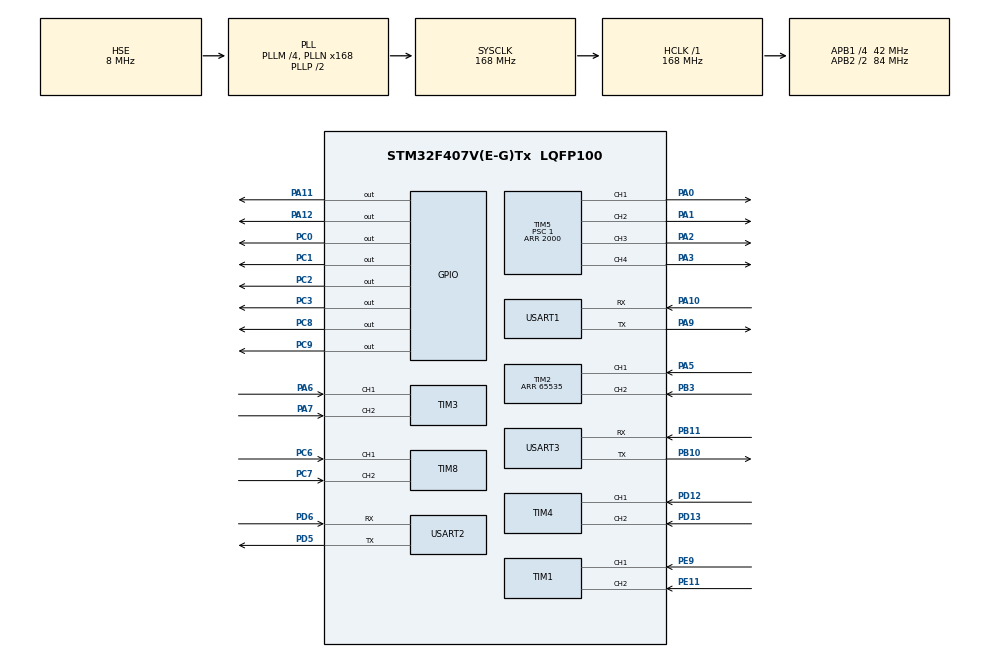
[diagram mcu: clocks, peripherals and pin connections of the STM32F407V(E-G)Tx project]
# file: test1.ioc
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Dma.Request0=USART3_RX
Dma.Request1=USART2_RX
Dma.USART2_RX.1.Direction=DMA_PERIPH_TO_MEMORY
Dma.USART2_RX.1.FIFOMode=DMA_FIFOMODE_DISABLE
Dma.USART2_RX.1.Instance=DMA1_Stream5
Dma.USART2_RX.1.MemDataAlignment=DMA_MDATAALIGN_BYTE
Dma.USART2_RX.1.MemInc=DMA_MINC_ENABLE
Dma.USART2_RX.1.Mode=DMA_NORMAL
Dma.USART2_RX.1.PeriphDataAlignment=DMA_PDATAALIGN_BYTE
Dma.USART2_RX.1.PeriphInc=DMA_PINC_DISABLE
Dma.USART2_RX.1.Priority=DMA_PRIORITY_LOW
Dma.USART3_RX.0.Direction=DMA_PERIPH_TO_MEMORY
Dma.USART3_RX.0.FIFOMode=DMA_FIFOMODE_DISABLE
Dma.USART3_RX.0.Instance=DMA1_Stream1
Dma.USART3_RX.0.MemDataAlignment=DMA_MDATAALIGN_BYTE
Dma.USART3_RX.0.MemInc=DMA_MINC_ENABLE
Dma.USART3_RX.0.Mode=DMA_NORMAL
Dma.USART3_RX.0.PeriphDataAlignment=DMA_PDATAALIGN_BYTE
Dma.USART3_RX.0.PeriphInc=DMA_PINC_DISABLE
Dma.USART3_RX.0.Priority=DMA_PRIORITY_LOW
Mcu.Family=STM32F4
Mcu.Name=STM32F407V(E-G)Tx
Mcu.Package=LQFP100
NVIC.DMA1_Stream1_IRQn=true\:0\:0\:false\:false\:true\:false\:true\:true
NVIC.DMA1_Stream5_IRQn=true\:0\:0\:false\:false\:true\:false\:true\:true
NVIC.PriorityGroup=NVIC_PRIORITYGROUP_4
NVIC.TIM7_IRQn=true\:0\:0\:false\:false\:true\:true\:true\:true
NVIC.USART2_IRQn=true\:0\:0\:false\:false\:true\:true\:true\:true
NVIC.USART3_IRQn=true\:0\:0\:false\:false\:true\:true\:true\:true
PA0-WKUP.Signal=S_TIM5_CH1
PA1.Signal=S_TIM5_CH2
PA10.Mode=Asynchronous
PA10.Signal=USART1_RX
PA11.Signal=GPIO_Output
PA12.Signal=GPIO_Output
PA2.Signal=S_TIM5_CH3
PA3.Signal=S_TIM5_CH4
PA5.Signal=S_TIM2_CH1_ETR
PA6.Signal=S_TIM3_CH1
PA7.Signal=S_TIM3_CH2
PA9.Mode=Asynchronous
PA9.Signal=USART1_TX
PB10.Mode=Asynchronous
PB10.Signal=USART3_TX
PB11.Mode=Asynchronous
PB11.Signal=USART3_RX
PB3.Signal=S_TIM2_CH2
PC0.GPIO_ModeDefaultOutputPP=GPIO_MODE_OUTPUT_PP
PC0.GPIO_PuPd=GPIO_NOPULL
PC0.Signal=GPIO_Output
PC1.GPIO_ModeDefaultOutputPP=GPIO_MODE_OUTPUT_PP
PC1.GPIO_PuPd=GPIO_NOPULL
PC1.Signal=GPIO_Output
PC2.GPIO_ModeDefaultOutputPP=GPIO_MODE_OUTPUT_PP
PC2.GPIO_PuPd=GPIO_NOPULL
PC2.Signal=GPIO_Output
PC3.GPIO_ModeDefaultOutputPP=GPIO_MODE_OUTPUT_PP
PC3.GPIO_PuPd=GPIO_NOPULL
PC3.Signal=GPIO_Output
PC6.Signal=S_TIM8_CH1
PC7.Signal=S_TIM8_CH2
PC8.GPIO_ModeDefaultOutputPP=GPIO_MODE_OUTPUT_PP
PC8.GPIO_PuPd=GPIO_NOPULL
PC8.Signal=GPIO_Output
PC9.GPIO_ModeDefaultOutputPP=GPIO_MODE_OUTPUT_PP
PC9.GPIO_PuPd=GPIO_NOPULL
PC9.Signal=GPIO_Output
PD12.Signal=S_TIM4_CH1
PD13.Signal=S_TIM4_CH2
PD5.Mode=Asynchronous
PD5.Signal=USART2_TX
PD6.Mode=Asynchronous
PD6.Signal=USART2_RX
PE11.Signal=S_TIM1_CH2
PE9.Signal=S_TIM1_CH1
PH0-OSC_IN.Mode=HSE-External-Oscillator
PH0-OSC_IN.Signal=RCC_OSC_IN
PH1-OSC_OUT.Mode=HSE-External-Oscillator
PH1-OSC_OUT.Signal=RCC_OSC_OUT
ProjectManager.HeapSize=0x200
ProjectManager.StackSize=0x400
ProjectManager.TargetToolchain=MDK-ARM V5.32
RCC.48MHZClocksFreq_Value=84000000
RCC.AHBFreq_Value=168000000
RCC.APB1CLKDivider=RCC_HCLK_DIV4
RCC.APB1Freq_Value=42000000
RCC.APB1TimFreq_Value=84000000
RCC.APB2CLKDivider=RCC_HCLK_DIV2
RCC.APB2Freq_Value=84000000
RCC.APB2TimFreq_Value=168000000
RCC.CortexFreq_Value=168000000
RCC.HCLKFreq_Value=168000000
RCC.HSE_VALUE=8000000
RCC.HSI_VALUE=16000000
RCC.LSE_VALUE=32768
RCC.PLLM=4
RCC.PLLN=168
RCC.PLLSourceVirtual=RCC_PLLSOURCE_HSE
RCC.SYSCLKFreq_VALUE=168000000
RCC.SYSCLKSource=RCC_SYSCLKSOURCE_PLLCLK
RCC.VCOOutputFreq_Value=336000000
SH.S_TIM1_CH1.0=TIM1_CH1,Encoder_Interface
SH.S_TIM1_CH2.0=TIM1_CH2,Encoder_Interface
SH.S_TIM2_CH1_ETR.0=TIM2_CH1,Encoder_Interface
SH.S_TIM2_CH2.0=TIM2_CH2,Encoder_Interface
SH.S_TIM3_CH1.0=TIM3_CH1,Encoder_Interface
SH.S_TIM3_CH2.0=TIM3_CH2,Encoder_Interface
SH.S_TIM4_CH1.0=TIM4_CH1,Encoder_Interface
SH.S_TIM4_CH2.0=TIM4_CH2,Encoder_Interface
SH.S_TIM5_CH1.0=TIM5_CH1,PWM Generation1 CH1
SH.S_TIM5_CH2.0=TIM5_CH2,PWM Generation2 CH2
SH.S_TIM5_CH3.0=TIM5_CH3,PWM Generation3 CH3
SH.S_TIM5_CH4.0=TIM5_CH4,PWM Generation4 CH4
SH.S_TIM8_CH1.0=TIM8_CH1,Encoder_Interface
SH.S_TIM8_CH2.0=TIM8_CH2,Encoder_Interface
TIM1.EncoderMode=TIM_ENCODERMODE_TI12
TIM2.EncoderMode=TIM_ENCODERMODE_TI12
TIM2.Period=65535
TIM3.EncoderMode=TIM_ENCODERMODE_TI12
TIM4.EncoderMode=TIM_ENCODERMODE_TI12
TIM5.AutoReloadPreload=TIM_AUTORELOAD_PRELOAD_ENABLE
TIM5.Channel-PWM\ Generation1\ CH1=TIM_CHANNEL_1
TIM5.Channel-PWM\ Generation2\ CH2=TIM_CHANNEL_2
TIM5.Channel-PWM\ Generation3\ CH3=TIM_CHANNEL_3
TIM5.Channel-PWM\ Generation4\ CH4=TIM_CHANNEL_4
TIM5.Period=2000
TIM5.Prescaler=1
TIM7.AutoReloadPreload=TIM_AUTORELOAD_PRELOAD_ENABLE
TIM7.Period=200
TIM7.Prescaler=8400
TIM8.EncoderMode=TIM_ENCODERMODE_TI12
USART1.VirtualMode=VM_ASYNC
USART2.VirtualMode=VM_ASYNC
USART3.VirtualMode=VM_ASYNC
VP_TIM7_VS_ClockSourceINT.Mode=Enable_Timer
board=custom

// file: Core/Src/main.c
/* USER CODE BEGIN Header */
/**
 ******************************************************************************
 * @file           : main.c
 * @brief          : Main program body
 ******************************************************************************
 * @attention
 *
 * Copyright (c) 2022 STMicroelectronics.
 * All rights reserved.
 *
 * This software is licensed under terms that can be found in the LICENSE file
 * in the root directory of this software component.
 * If no LICENSE file comes with this software, it is provided AS-IS.
 *
 ******************************************************************************
 */
/* USER CODE END Header */
#include "main.h"
#include "dma.h"
#include "tim.h"
#include "usart.h"
#include "gpio.h"

/* USER CODE BEGIN Includes */
#include <string.h>
#include <stdio.h>
#include "pid.h"
#include "jy62.h"
#include "zigbee_edc24.h"
#include "map.h"
#include "drive.h"
#include "Dijkstra.h"
#include <math.h>
/* USER CODE END Includes */

/* USER CODE BEGIN PD */
#define MAX_SPEED 60
/* USER CODE END PD */

/* USER CODE BEGIN PV */
int32_t lastCnt[4], curCnt[4], speed[4];
pid speedPid[6];
float coff = 0.4f;

pid xPosPid, yPosPid;

pid zAnglePid;

extern uint8_t jy62_buff[JY62_BUFFSIZE];
extern struct vec acc, angle, vel;
extern uint32_t height;
extern float g;

//uint8_t hash[65536];

enum stateValue
{
	running,
	calibrating,
	stop
};
uint8_t state = stop;

extern uint8_t receive_flag;

uint32_t lastReqTime = 0;

extern int32_t charging_pile_num;

extern uint8_t settingc;

// extern float drive_velocity_x_goal;
// extern float drive_velocity_y_goal;
/* USER CODE END PV */

void SystemClock_Config(void);
/* USER CODE BEGIN PFP */

void setSpeed(uint8_t idx, double speed);

/* USER CODE END PFP */

int main(void)
{

  /* MCU Configuration--------------------------------------------------------*/

  /* Reset of all peripherals, Initializes the Flash interface and the Systick. */
  HAL_Init();

  /* Configure the system clock */
  SystemClock_Config();

  /* Initialize all configured peripherals */
  MX_GPIO_Init();
  MX_DMA_Init();
  MX_TIM2_Init();
  MX_TIM3_Init();
  MX_TIM4_Init();
  MX_TIM5_Init();
  MX_USART1_UART_Init();
  MX_USART2_UART_Init();
  MX_USART3_UART_Init();
  MX_TIM7_Init();
  MX_TIM8_Init();
  MX_TIM1_Init();
  /* USER CODE BEGIN 2 */

	HAL_TIM_PWM_Start(&htim5, TIM_CHANNEL_1);
	HAL_TIM_PWM_Start(&htim5, TIM_CHANNEL_2);
	HAL_TIM_PWM_Start(&htim5, TIM_CHANNEL_3);
	HAL_TIM_PWM_Start(&htim5, TIM_CHANNEL_4);
	HAL_TIM_Encoder_Start(&htim2, TIM_CHANNEL_ALL);
	HAL_TIM_Encoder_Start(&htim3, TIM_CHANNEL_ALL);
	HAL_TIM_Encoder_Start(&htim4, TIM_CHANNEL_ALL);
	HAL_TIM_Encoder_Start(&htim8, TIM_CHANNEL_ALL);

	HAL_TIM_Base_Start_IT(&htim7);

	HAL_UARTEx_ReceiveToIdle_DMA(&huart3, jy62_buff, JY62_BUFFSIZE);

	state = calibrating;
	jy62_init(&huart3);
	// calibrate();
	HAL_Delay(500);
	initAngle();
	HAL_Delay(500);
	state = running;

	pid_init(&speedPid[0], 3.0f, 0.12f, 0.0f);
	pid_init(&speedPid[1], 3.0f, 0.12f, 0.0f);
	pid_init(&speedPid[2], 3.0f, 0.12f, 0.0f);
	pid_init(&speedPid[3], 3.0f, 0.12f, 0.0f);

	pid_init(&xPosPid, 2.5f, 0.021f, 5.0f);
	pid_init(&yPosPid, 2.0f, 0.015f, 4.5f);
	// speedPid[0].goal=10;
	// speedPid[1].goal=10;
	// speedPid[2].goal=10;
	// speedPid[3].goal=10;

	pid_init(&zAnglePid, 1.1f, 0.04f, 0.01f);
	zAnglePid.goal = 0;
	u1_printf("hello");

	zigbee_Init(&huart2);

  /* USER CODE END 2 */

  /* Infinite loop */
  /* USER CODE BEGIN WHILE */
	uint32_t idx = 0;
	uint8_t built = 0;
	uint8_t charge_pile_set = 0;
	Drive_Init();
	//for(uint32_t i=0;i<65536;++i) hash[i]=1;
	while (1)
	{
    /* USER CODE END WHILE */

    /* USER CODE BEGIN 3 */

		if(idx%200<100){
			//setSpeed(3,60);
			//setSpeed(1,60);
			//setSpeed(2,60);
			//setSpeed(4,60);
		}else{
			//setSpeed(3,-60);
			//setSpeed(1,-60);
			//setSpeed(2,-60);
			//setSpeed(4,-60);
		}
		idx++;
		uint32_t currentTime=HAL_GetTick();
		if(receive_flag && currentTime-lastReqTime > 90){
			reqGameInfo();
			lastReqTime = currentTime;
		}
		if (receive_flag)
		{
			zigbeeMessageRecord();

			saveOrder();
			charging_pile_num = getOwnChargingPileNum();
			if (!built)
			{
				Barrier_edc24 b = getOneBarrier(0);
				Position_edc24 tmppos = getVehiclePos();
				if (b.pos_1.x != 0 && b.pos_1.y != 0 && b.pos_2.x != 0 && b.pos_2.y != 0 && tmppos.x != 0)
				{
					built = 1;
					BuildMap();
					//
					u1_printf("built:%d, %d", tmppos.x, tmppos.y);
					HAL_Delay(1000);
					settingc=1;
					// uint16_t curNode=Get_Nearby_Node(tmppos.x, tmppos.y);
				}
			}
		}
		else
		{
		}
		if (built)
		{
			 if(charging_pile_num<3)
				Drive_Set_Charge_Pile();
			 else{
					settingc = 0;
				 Drive_Simple();
			 }

			// Go_to(100,100);
		}
		 //u1_printf("%d, %d, %d, %d, %f\n", speed[0], speed[1], speed[2], speed[3], angle.z);
		// Position_edc24 tmppos=getVehiclePos();
		// u1_printf("x:%d, y:%d\n", tmppos.x, tmppos.y);
	}
  /* USER CODE END 3 */
}

void SystemClock_Config(void)
{
  RCC_OscInitTypeDef RCC_OscInitStruct = {0};
  RCC_ClkInitTypeDef RCC_ClkInitStruct = {0};

  /** Configure the main internal regulator output voltage
  */
  __HAL_RCC_PWR_CLK_ENABLE();
  __HAL_PWR_VOLTAGESCALING_CONFIG(PWR_REGULATOR_VOLTAGE_SCALE1);

  /** Initializes the RCC Oscillators according to the specified parameters
  * in the RCC_OscInitTypeDef structure.
  */
  RCC_OscInitStruct.OscillatorType = RCC_OSCILLATORTYPE_HSE;
  RCC_OscInitStruct.HSEState = RCC_HSE_ON;
  RCC_OscInitStruct.PLL.PLLState = RCC_PLL_ON;
  RCC_OscInitStruct.PLL.PLLSource = RCC_PLLSOURCE_HSE;
  RCC_OscInitStruct.PLL.PLLM = 4;
  RCC_OscInitStruct.PLL.PLLN = 168;
  RCC_OscInitStruct.PLL.PLLP = RCC_PLLP_DIV2;
  RCC_OscInitStruct.PLL.PLLQ = 4;
  if (HAL_RCC_OscConfig(&RCC_OscInitStruct) != HAL_OK)
  {
    Error_Handler();
  }

  /** Initializes the CPU, AHB and APB buses clocks
  */
  RCC_ClkInitStruct.ClockType = RCC_CLOCKTYPE_HCLK|RCC_CLOCKTYPE_SYSCLK
                              |RCC_CLOCKTYPE_PCLK1|RCC_CLOCKTYPE_PCLK2;
  RCC_ClkInitStruct.SYSCLKSource = RCC_SYSCLKSOURCE_PLLCLK;
  RCC_ClkInitStruct.AHBCLKDivider = RCC_SYSCLK_DIV1;
  RCC_ClkInitStruct.APB1CLKDivider = RCC_HCLK_DIV4;
  RCC_ClkInitStruct.APB2CLKDivider = RCC_HCLK_DIV2;

  if (HAL_RCC_ClockConfig(&RCC_ClkInitStruct, FLASH_LATENCY_5) != HAL_OK)
  {
    Error_Handler();
  }
}

/* USER CODE BEGIN 4 */
void setSpeed(uint8_t idx, double speed)
{
	if (idx == 1)
	{
		if (speed > 0)
		{
			HAL_GPIO_WritePin(GPIOC, GPIO_PIN_2, 0);
			HAL_GPIO_WritePin(GPIOC, GPIO_PIN_3, 1);
		}
		else
		{
			HAL_GPIO_WritePin(GPIOC, GPIO_PIN_2, 1);
			HAL_GPIO_WritePin(GPIOC, GPIO_PIN_3, 0);
			speed = -speed;
		}
		__HAL_TIM_SetCompare(&htim5, TIM_CHANNEL_1, 2000 * speed / 100);
	}
	else if (idx == 2)
	{
		if (speed > 0)
		{
			HAL_GPIO_WritePin(GPIOC, GPIO_PIN_0, 1);
			HAL_GPIO_WritePin(GPIOC, GPIO_PIN_1, 0);
		}
		else
		{
			HAL_GPIO_WritePin(GPIOC, GPIO_PIN_0, 0);
			HAL_GPIO_WritePin(GPIOC, GPIO_PIN_1, 1);
			speed = -speed;
		}
		__HAL_TIM_SetCompare(&htim5, TIM_CHANNEL_2, 2000 * speed / 100);
	}
	else if (idx == 3)
	{
		if (speed > 0)
		{
			HAL_GPIO_WritePin(GPIOC, GPIO_PIN_8, 1);
			HAL_GPIO_WritePin(GPIOC, GPIO_PIN_9, 0);
		}
		else
		{
			HAL_GPIO_WritePin(GPIOC, GPIO_PIN_8, 0);
			HAL_GPIO_WritePin(GPIOC, GPIO_PIN_9, 1);
			speed = -speed;
		}
		__HAL_TIM_SetCompare(&htim5, TIM_CHANNEL_3, 2000 * speed / 100);
	}
	else if (idx == 4)
	{
		if (speed > 0)
		{
			HAL_GPIO_WritePin(GPIOA, GPIO_PIN_11, 0);
			HAL_GPIO_WritePin(GPIOA, GPIO_PIN_12, 1);
		}
		else
		{
			HAL_GPIO_WritePin(GPIOA, GPIO_PIN_11, 1);
			HAL_GPIO_WritePin(GPIOA, GPIO_PIN_12, 0);
			speed = -speed;
		}
		__HAL_TIM_SetCompare(&htim5, TIM_CHANNEL_4, 2000 * speed / 100);
	}
}

uint16_t idx=0;

void HAL_TIM_PeriodElapsedCallback(TIM_HandleTypeDef *htim)
{
	if (htim->Instance == TIM7)
	{
		Position_edc24 pos = getVehiclePos();
		float vx = -pid_calculate(&xPosPid, pos.x);
		float vy = pid_calculate(&yPosPid, pos.y);
		if (deliver_state_simple == No_Order && !settingc)
		{
			vx = 0;
			vy = 0;
			idx++;
			if(idx%100<50){
				vy=10;
			}else{
				vy=-10;
			}
			if(idx>100){idx=0;}
		}
		if (vx > MAX_SPEED)
			vx = MAX_SPEED;
		if (vx < -MAX_SPEED)
			vx = -MAX_SPEED;
		if (vy > MAX_SPEED)
			vy = MAX_SPEED;
		if (vy < -MAX_SPEED)
			vy = -MAX_SPEED;

		// float vx=10, vy=0;
		// float vy=5;
		// zAnglePid.goal = drive_angle_goal;
		zAnglePid.goal = 0;
		if (zAnglePid.goal < -180.0f)
			zAnglePid.goal = 180;
		if (zAnglePid.goal > 180.0f)
			zAnglePid.goal = -180;

		float zAngleErr = angle.z - zAnglePid.goal;
		if (zAngleErr > 180.0f)
			zAngleErr -= 360.0f;
		if (zAngleErr < -180.0f)
			zAngleErr += 360.0f;

		double zAngleTht = pid_calculate(&zAnglePid, zAnglePid.goal + zAngleErr);
		if (zAngleTht > 40)
			zAngleTht = 40.0f;
		if (zAngleTht < -40)
			zAngleTht = -40.0f;

		// zAngleTht =0;
		/*
		speedPid[2].goal = vy + zAngleTht;
		speedPid[3].goal = vy + zAngleTht;
		speedPid[0].goal = vy - zAngleTht;
		speedPid[1].goal = vy - zAngleTht;
		*/
		speedPid[0].goal = -zAngleTht + vx + vy;
		speedPid[1].goal = -zAngleTht - vx + vy;
		speedPid[2].goal = zAngleTht + vx + vy;
		speedPid[3].goal = zAngleTht - vx + vy;

		int32_t tmp;
		tmp = __HAL_TIM_GET_COUNTER(&htim8);
		if (tmp >= 32768)
			tmp -= 65536;
		speed[0] = coff * (float)tmp + (1 - coff) * speed[0];

		tmp = __HAL_TIM_GET_COUNTER(&htim2);
		if (tmp >= 32768)
			tmp -= 65536;
		speed[1] = coff * (float)tmp + (1 - coff) * speed[1];

		tmp = __HAL_TIM_GET_COUNTER(&htim3);
		if (tmp >= 32768)
			tmp -= 65536;
		speed[2] = coff * (float)tmp + (1 - coff) * speed[2];

		tmp = __HAL_TIM_GET_COUNTER(&htim4);
		if (tmp >= 32768)
			tmp -= 65536;
		speed[3] = coff * (float)tmp + (1 - coff) * speed[3];

		for (uint8_t i = 0; i < 4; ++i)
		{
			if (speed[i] >= 32768)
				speed[i] -= 65536;
		}

		__HAL_TIM_SetCounter(&htim8, 0);
		__HAL_TIM_SetCounter(&htim2, 0);
		__HAL_TIM_SetCounter(&htim3, 0);
		__HAL_TIM_SetCounter(&htim4, 0);

		/*
		for(uint8_t i=0;i<4;++i){
			speed[i]=curCnt[i]-lastCnt[i];
			//if(i==2) speed[i]=-speed[1];
			lastCnt[i]=curCnt[i];
		}*/

		double tht1 = pid_calculate(&speedPid[0], -(float)speed[2]);
		double tht2 = pid_calculate(&speedPid[1], -(float)speed[1]);
		double tht3 = pid_calculate(&speedPid[2], (float)speed[0]);
		double tht4 = pid_calculate(&speedPid[3], (float)speed[3]);

		if (tht1 > 70)
			tht1 = 70;
		if (tht1 < -70)
			tht1 = -70;
		setSpeed(1, -tht1);
		//setSpeed(1,60);

		if (tht2 > 70)
			tht2 = 70;
		if (tht2 < -70)
			tht2 = -70;
		setSpeed(2, -tht2);
		//setSpeed(2,10);

		if (tht3 > 70)
			tht3 = 70;
		if (tht3 < -70)
			tht3 = -70;
		setSpeed(3, -tht3);
		//setSpeed(3,-60);

		if (tht4 > 70)
			tht4 = 70;
		if (tht4 < -70)
			tht4 = -70;
		setSpeed(4, -tht4);
		//setSpeed(4,-60);
	}
}

void HAL_UARTEx_RxEventCallback(UART_HandleTypeDef *huart, uint16_t Size)
{
	{
		if (huart->Instance == USART2)
		{
			// from zigbee_edc24
			receive_flag = 1;
		}
		else if (huart->Instance == USART3)
		{
			// from jy62

			// printf("%d\n", Size);
			// HAL_UART_Transmit(&huart1,buff,Size,0xFFFFFFFFU);
			// float pit;

			int idx = 0;
			int i = 0;
			while (idx < Size)
			{
				while (jy62_buff[idx] != 0x55)
					++idx;
				uint8_t sum = 0;
				for (i = 0; i < 10; ++i)
					sum += jy62_buff[idx + i];
				if (sum == jy62_buff[idx + 10])
				{
					if (jy62_buff[idx + 1] == 0x51)
					{
						int16_t tmp1, tmp2;
						tmp1 = jy62_buff[idx + 3], tmp2 = jy62_buff[idx + 2];
						acc.x = (float)((tmp1 << 8) + tmp2) * 16.0 * g / 32768.0;
						tmp1 = jy62_buff[idx + 5], tmp2 = jy62_buff[idx + 4];
						acc.y = (float)((tmp1 << 8) + tmp2) * 16.0 * g / 32768.0;
						tmp1 = jy62_buff[idx + 7], tmp2 = jy62_buff[idx + 6];
						acc.z = (float)((tmp1 << 8) + tmp2) * 16.0 * g / 32768.0;

						if (acc.x >= 16 * g)
							acc.x -= 32 * g;
						if (acc.y >= 16 * g)
							acc.y -= 32 * g;
						if (acc.z >= 16 * g)
							acc.z -= 32 * g;
					}
					else if (jy62_buff[idx + 1] == 0x52)
					{
						vel.x = (float)(((short)jy62_buff[idx + 3] << 8) + (short)jy62_buff[idx + 2]) * 2000.0 / 32768.0;
						vel.y = (float)(((short)jy62_buff[idx + 5] << 8) + (short)jy62_buff[idx + 4]) * 2000.0 / 32768.0;
						vel.z = (float)(((short)jy62_buff[idx + 7] << 8) + (short)jy62_buff[idx + 6]) * 2000.0 / 32768.0;
						if (vel.z > 2000)
							vel.z -= 4000;
					}
					else if (jy62_buff[idx + 1] == 0x53)
					{
						angle.x = (float)(((short)jy62_buff[idx + 3] << 8) + (short)jy62_buff[idx + 2]) * 180.0 / 32768.0;
						angle.y = (float)(((short)jy62_buff[idx + 5] << 8) + (short)jy62_buff[idx + 4]) * 180.0 / 32768.0;
						angle.z = (float)(((short)jy62_buff[idx + 7] << 8) + (short)jy62_buff[idx + 6]) * 180.0 / 32768.0;

						angle.x = angle.x > 180.0 ? angle.x - 360.0 : angle.x;
						angle.y = angle.y > 180.0 ? angle.y - 360.0 : angle.y;
						angle.z = angle.z > 180.0 ? angle.z - 360.0 : angle.z;
					}
					else if (jy62_buff[idx + 1] == 0x56)
					{
						height = ((uint32_t)jy62_buff[idx + 9] << 24) + ((uint32_t)jy62_buff[idx + 8] << 16) + ((uint32_t)jy62_buff[idx + 7] << 8) + (uint32_t)jy62_buff[idx + 6];
					}
					idx += 11;
				}
				else
				{
					idx++;
				}
				HAL_UARTEx_ReceiveToIdle_DMA(&huart3, jy62_buff, 200);
			}
		}
	}
}

/* USER CODE END 4 */

void Error_Handler(void)
{
	__disable_irq();
	while (1)
	{
	}
}
